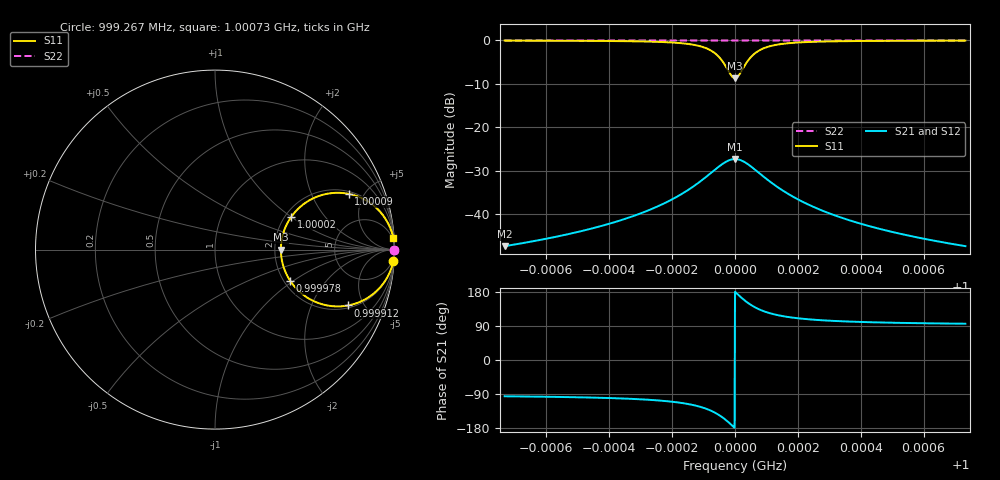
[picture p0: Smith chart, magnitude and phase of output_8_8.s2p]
! File generated for n1 = 8, n2 = 8
! b1 = 0.464159
! b2 = 0.002154
! Q0 = 10000.000000
! f0 = 1000000000.000000
! n = 1001
! rel_span = 10.000000
# Hz S RI R 50
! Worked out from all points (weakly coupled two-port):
!   1001 points, 999.267 MHz to 1.00073 GHz, reference 50 ohm
!   highest |S21| = -27.30 dB at 1 GHz (marker M1); lowest = -47.4 dB at 999.267 MHz (marker M2)
!   lowest |S11| = -8.7 dB at 1 GHz (marker M3), VSWR 2.16, Z = 108 + j0 ohm
!   |S11| at or under -10 dB: nowhere
!   |S22| runs from 0.0 to 0.0 dB; largest |S21 - S12| = 0
!   S11 on the Smith chart (normalised r, x): 999.267 MHz: 2, -32; 999.912 MHz: 2.16, -3.79; 999.978 MHz: 2.16, -0.95; 1.00002 GHz: 2.16, +1.01; 1.00009 GHz: 2.16, +3.85; 1.00073 GHz: 2, +32
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9.992668e8  0.9937 -0.0627  -0.000427 -0.00427  -0.000427 -0.00427  1 -0.000291
9.995117e8  0.986 -0.0929  -0.000951 -0.00633  -0.000951 -0.00633  0.9999 -0.000431
9.996466e8  0.9739 -0.1259  -0.00178 -0.00858  -0.00178 -0.00858  0.9999 -0.000584
9.997566e8  0.9474 -0.1748  -0.00359 -0.0119  -0.00359 -0.0119  0.9998 -0.000811
9.998504e8  0.8774 -0.2502  -0.00836 -0.017  -0.00836 -0.017  0.9994 -0.00116
9.998842e8  0.8189 -0.2861  -0.0123 -0.0195  -0.0123 -0.0195  0.9992 -0.00133
9.99912e8  0.7405 -0.3114  -0.0177 -0.0212  -0.0177 -0.0212  0.9988 -0.00145
9.999487e8  0.5751 -0.2974  -0.0289 -0.0203  -0.0289 -0.0203  0.998 -0.00138
9.999633e8  0.4935 -0.2532  -0.0345 -0.0173  -0.0345 -0.0173  0.9976 -0.00118
9.99978e8  0.4192 -0.1742  -0.0396 -0.0119  -0.0396 -0.0119  0.9973 -0.000809
9.999912e8  0.3759 -0.0749  -0.0425 -0.0051  -0.0425 -0.0051  0.9971 -0.000348
1e9  0.3669 0  -0.0431 0  -0.0431 0  0.9971 0
1.00001e9  0.3791 0.0869  -0.0423 0.00592  -0.0423 0.00592  0.9971 0.000403
1.000023e9  0.4257 0.1838  -0.0391 0.0125  -0.0391 0.0125  0.9973 0.000853
1.000051e9  0.5751 0.2974  -0.0289 0.0203  -0.0289 0.0203  0.998 0.00138
1.000089e9  0.7456 0.3104  -0.0173 0.0211  -0.0173 0.0211  0.9988 0.00144
1.000117e9  0.8221 0.2845  -0.0121 0.0194  -0.0121 0.0194  0.9992 0.00132
1.000151e9  0.8792 0.2487  -0.00823 0.0169  -0.00823 0.0169  0.9994 0.00115
1.000245e9  0.9479 0.174  -0.00355 0.0119  -0.00355 0.0119  0.9998 0.000808
1.000355e9  0.9741 0.1255  -0.00177 0.00855  -0.00177 0.00855  0.9999 0.000582
1.00049e9  0.9861 0.0927  -0.000946 0.00632  -0.000946 0.00632  0.9999 0.00043
1.000733e9  0.9937 0.0627  -0.000427 0.00427  -0.000427 0.00427  1 0.000291
